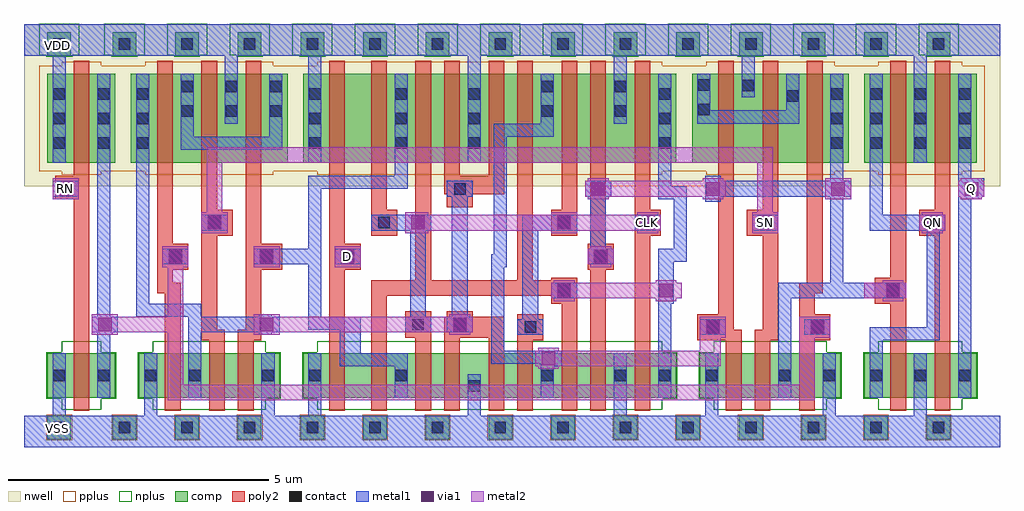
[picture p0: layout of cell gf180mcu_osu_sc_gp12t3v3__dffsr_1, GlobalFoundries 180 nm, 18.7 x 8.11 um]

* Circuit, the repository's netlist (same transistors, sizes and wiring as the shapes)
* Copyright 2022 Google LLC
*
* Licensed under the Apache License, Version 2.0 (the "License");
* you may not use this file except in compliance with the License.
* You may obtain a copy of the License at
*
*      http://www.apache.org/licenses/LICENSE-2.0
*
* Unless required by applicable law or agreed to in writing, software
* distributed under the License is distributed on an "AS IS" BASIS,
* WITHOUT WARRANTIES OR CONDITIONS OF ANY KIND, either express or implied.
* See the License for the specific language governing permissions and
* limitations under the License.

.inc "/import/yukari1/lrburle/OSU_180/char/techfiles/design.hspice"
.lib "/import/yukari1/lrburle/OSU_180/char/techfiles/sm141064.hspice" typical

.GLOBAL VDD
.GLOBAL VSS

.option scale=0.05u

.subckt gf180mcu_osu_sc_gp12t3v3__dffsr_1 D SN RN Q QN CLK
X0 a_156_109 a_133_14 a_82_14 VDD pmos_3p3 w=34 l=6
X1 VSS a_41_109 a_156_19 VSS nmos_3p3 w=17 l=6
X2 a_82_14 CLK a_123_109 VDD pmos_3p3 w=34 l=6
X3 a_212_109 CLK a_195_19 VDD pmos_3p3 w=34 l=6
X4 VSS a_25_19 a_216_68 VSS nmos_3p3 w=17 l=6
X5 a_195_19 CLK a_184_19 VSS nmos_3p3 w=17 l=6
X6 a_133_14 CLK VSS VSS nmos_3p3 w=17 l=6
X7 a_216_68 SN a_275_19 VSS nmos_3p3 w=17 l=6
X8 a_25_19 RN VDD VDD pmos_3p3 w=34 l=6
X9 a_123_109 D VDD VDD pmos_3p3 w=34 l=6
X10 VDD a_216_68 QN VDD pmos_3p3 w=34 l=6
X11 Q QN VDD VDD pmos_3p3 w=34 l=6
X12 a_41_109 a_25_19 VSS VSS nmos_3p3 w=17 l=6
X13 a_25_19 RN VSS VSS nmos_3p3 w=17 l=6
X14 a_82_14 a_133_14 a_123_19 VSS nmos_3p3 w=17 l=6
X15 a_256_109 SN VDD VDD pmos_3p3 w=34 l=6
X16 a_275_19 a_195_19 VSS VSS nmos_3p3 w=17 l=6
X17 VDD a_195_19 a_256_109 VDD pmos_3p3 w=34 l=6
X18 a_212_19 a_133_14 a_195_19 VSS nmos_3p3 w=17 l=6
X19 a_216_68 a_25_19 a_256_109 VDD pmos_3p3 w=34 l=6
X20 VSS a_216_68 a_212_19 VSS nmos_3p3 w=17 l=6
X21 a_77_19 SN a_41_109 VSS nmos_3p3 w=17 l=6
X22 a_57_109 a_82_14 VDD VDD pmos_3p3 w=34 l=6
X23 a_57_109 a_25_19 a_41_109 VDD pmos_3p3 w=34 l=6
X24 VDD SN a_57_109 VDD pmos_3p3 w=34 l=6
X25 a_195_19 a_133_14 a_184_109 VDD pmos_3p3 w=34 l=6
X26 Q QN VSS VSS nmos_3p3 w=17 l=6
X27 a_184_109 a_41_109 VDD VDD pmos_3p3 w=34 l=6
X28 VSS a_82_14 a_77_19 VSS nmos_3p3 w=17 l=6
X29 a_156_19 CLK a_82_14 VSS nmos_3p3 w=17 l=6
X30 VDD a_41_109 a_156_109 VDD pmos_3p3 w=34 l=6
X31 a_133_14 CLK VDD VDD pmos_3p3 w=34 l=6
X32 a_123_19 D VSS VSS nmos_3p3 w=17 l=6
X33 VDD a_216_68 a_212_109 VDD pmos_3p3 w=34 l=6
X34 a_184_19 a_41_109 VSS VSS nmos_3p3 w=17 l=6
X35 VSS a_216_68 QN VSS nmos_3p3 w=17 l=6
.ends

** hspice subcircuit dictionary

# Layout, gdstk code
import gdstk
lib = gdstk.Library(unit=1e-6, precision=1e-09)
def R(c, l, rs):  # rectangles x0, y0, x1, y1
    for r in rs: c.add(gdstk.rectangle(r[:2], r[2:], *l))
def A(c, l, x, y, w, h, nx, ny, dx, dy):  # array of equal rectangles
    R(c, l, [(x+i*dx, y+j*dy, x+i*dx+w, y+j*dy+h) for i in range(nx) for j in range(ny)])
nwell = (21, 0)
comp = (22, 0)
poly2 = (30, 0)
pplus = (31, 0)
nplus = (32, 0)
contact = (33, 0)
metal1 = (34, 0)
via1 = (35, 0)
metal2 = (36, 0)

gf180mcu_osu_sc_gp12t3v3 = lib.new_cell('gf180mcu_osu_sc_gp12t3v3__dffsr_1')
R(gf180mcu_osu_sc_gp12t3v3, nwell, [(0,5,18.7,8.1)])
A(gf180mcu_osu_sc_gp12t3v3, comp, 1.7, 0.15, 0.45, 0.45, 14, 2, 1.2, 7.35)
R(gf180mcu_osu_sc_gp12t3v3, comp, [(0.45,0.15,0.9,0.6), (0.45,0.95,1.75,1.8), (2.2,0.95,4.9,1.8), (5.35,0.95,12.5,1.8), (12.95,0.95,15.65,1.8), (16.1,0.95,18.25,1.8), (0.45,5.45,1.75,7.15), (2.05,5.45,5.05,7.15), (5.35,5.45,12.5,7.15), (12.8,5.45,15.8,7.15), (16.1,5.45,18.25,7.15), (0.45,7.5,0.9,7.95)])
R(gf180mcu_osu_sc_gp12t3v3, poly2, [(0.95,0.7,1.25,4.75), (2.7,0.7,3,2.95), (3.55,0.7,3.85,2.05), (4.1,0.7,4.4,2.05), (5.85,0.7,6.15,3.4), (6.65,0.7,6.95,2.9), (7.5,0.7,7.8,2.1), (8.05,0.7,8.35,2.1), (8.9,0.7,9.2,2.1), (9.45,0.7,9.75,2.05), (10.3,0.7,10.6,2.75), (10.85,0.7,11.15,3.4), (11.7,0.7,12,4.05), (13.45,0.7,13.75,2.05), (14,0.7,14.3,2.05), (14.85,0.7,15.15,2.05), (16.6,0.7,16.9,2.75), (17.45,0.7,17.75,4.05), (3.4,2.05,3.85,2.25), (4.1,2.05,4.55,2.25), (9.45,2.05,9.95,2.55), (12.9,2.05,13.75,2.25), (14,2.05,14.45,2.25), (14.85,2.05,15.45,2.55), (7.3,2.1,7.8,2.6), (8.05,2.1,9.2,2.5), (3.4,2.25,3.7,4.05), (4.25,2.25,4.55,3.4), (12.9,2.25,13.6,2.55), (14.15,2.25,14.45,4.05), (8.1,2.5,8.6,2.6), (13.3,2.55,13.6,7.4), (14.85,2.55,15.15,2.95), (10.1,2.75,10.6,2.9), (16.3,2.75,16.9,3.25), (6.65,2.9,10.6,3.2), (2.55,2.95,3,3.15), (14.85,2.95,15.3,3.15), (2.55,3.15,2.85,3.4), (15,3.15,15.3,7.4), (7.5,3.2,7.8,7.4), (9.45,3.2,9.75,7.4), (10.1,3.2,10.6,3.25), (16.6,3.25,16.9,7.4), (2.55,3.4,3.15,3.9), (4.25,3.4,4.95,3.9), (5.85,3.4,6.45,3.9), (10.8,3.4,11.3,3.9), (2.55,3.9,2.85,7.4), (4.25,3.9,4.55,7.4), (5.85,3.9,6.15,7.4), (10.85,3.9,11.15,7.4), (3.4,4.05,4,4.55), (6.65,4.05,7.15,4.55), (10.1,4.05,10.6,4.55), (11.7,4.05,12.2,4.55), (13.85,4.05,14.45,4.55), (17.15,4.05,17.75,4.55), (3.4,4.55,3.7,7.4), (6.65,4.55,6.95,7.4), (10.3,4.55,10.6,7.4), (11.7,4.55,12,7.4), (14.15,4.55,14.45,7.4), (17.45,4.55,17.75,7.4), (8.1,4.6,8.6,4.85), (0.6,4.75,1.25,5.2), (8.05,4.85,9.2,5.2), (0.95,5.2,1.25,7.4), (8.05,5.2,8.35,7.4), (8.9,5.2,9.2,7.4)])
A(gf180mcu_osu_sc_gp12t3v3, pplus, 1.68, 0.13, 0.49, 0.49, 14, 1, 1.2, 0)
R(gf180mcu_osu_sc_gp12t3v3, pplus, [(0.43,0.13,0.92,0.62), (0.72,5.22,1.48,5.29), (2.32,5.22,4.78,5.29), (5.62,5.22,12.23,5.29), (13.07,5.22,15.53,5.29), (16.37,5.22,17.98,5.29), (0.29,5.29,18.41,7.31), (0.72,7.31,1.48,7.38), (2.32,7.31,4.78,7.38), (5.62,7.31,12.23,7.38), (13.07,7.31,15.53,7.38), (16.37,7.31,17.98,7.38)])
A(gf180mcu_osu_sc_gp12t3v3, nplus, 1.68, 7.48, 0.49, 0.03, 14, 1, 1.2, 0)
A(gf180mcu_osu_sc_gp12t3v3, nplus, 1.54, 7.51, 0.77, 0.6, 14, 1, 1.2, 0)
R(gf180mcu_osu_sc_gp12t3v3, nplus, [(0.72,0.72,1.48,0.93), (2.47,0.72,4.63,0.93), (5.62,0.72,12.23,0.93), (13.22,0.72,15.38,0.93), (16.37,0.72,17.98,0.93), (0.43,0.93,1.77,1.82), (2.18,0.93,4.92,1.82), (5.33,0.93,12.52,1.82), (12.93,0.93,15.67,1.82), (16.08,0.93,18.27,1.82), (0.72,1.82,1.48,2.03), (2.47,1.82,4.63,2.03), (5.62,1.82,12.23,2.03), (13.22,1.82,15.38,2.03), (16.37,1.82,17.98,2.03), (0.43,7.48,0.92,7.51), (0.29,7.51,1.06,8.11)])
A(gf180mcu_osu_sc_gp12t3v3, contact, 1.815, 0.265, 0.22, 0.22, 14, 2, 1.2, 7.35)
A(gf180mcu_osu_sc_gp12t3v3, contact, 16.215, 1.265, 0.22, 0.22, 3, 2, 0.85, 4.455)
A(gf180mcu_osu_sc_gp12t3v3, contact, 0.565, 5.72, 0.22, 0.22, 1, 3, 0, 0.47)
A(gf180mcu_osu_sc_gp12t3v3, contact, 1.415, 5.72, 0.22, 0.22, 1, 3, 0, 0.47)
A(gf180mcu_osu_sc_gp12t3v3, contact, 2.165, 5.72, 0.22, 0.22, 1, 3, 0, 0.47)
A(gf180mcu_osu_sc_gp12t3v3, contact, 5.465, 5.72, 0.22, 0.22, 1, 3, 0, 0.47)
A(gf180mcu_osu_sc_gp12t3v3, contact, 7.115, 5.72, 0.22, 0.22, 1, 3, 0, 0.47)
A(gf180mcu_osu_sc_gp12t3v3, contact, 8.515, 5.72, 0.22, 0.22, 1, 3, 0, 0.47)
A(gf180mcu_osu_sc_gp12t3v3, contact, 12.165, 5.72, 0.22, 0.22, 1, 3, 0, 0.47)
A(gf180mcu_osu_sc_gp12t3v3, contact, 15.465, 5.72, 0.22, 0.22, 1, 3, 0, 0.47)
A(gf180mcu_osu_sc_gp12t3v3, contact, 16.215, 6.19, 0.22, 0.22, 3, 2, 0.85, 0.47)
A(gf180mcu_osu_sc_gp12t3v3, contact, 3.015, 6.33, 0.22, 0.22, 3, 2, 0.85, 0.47)
R(gf180mcu_osu_sc_gp12t3v3, contact, [(0.565,0.265,0.785,0.485), (8.515,1.065,8.735,1.285), (0.565,1.265,0.785,1.485), (1.415,1.265,1.635,1.485), (2.315,1.265,2.535,1.485), (3.165,1.265,3.385,1.485), (4.565,1.265,4.785,1.485), (5.465,1.265,5.685,1.485), (7.115,1.265,7.335,1.485), (9.915,1.265,10.135,1.485), (11.315,1.265,11.535,1.485), (12.165,1.265,12.385,1.485), (13.065,1.265,13.285,1.485), (14.465,1.265,14.685,1.485), (15.315,1.265,15.535,1.485), (9.59,2.19,9.81,2.41), (13.09,2.19,13.31,2.41), (15.09,2.19,15.31,2.41), (7.44,2.24,7.66,2.46), (8.24,2.24,8.46,2.46), (10.24,2.89,10.46,3.11), (16.54,2.89,16.76,3.11), (2.79,3.54,3.01,3.76), (4.54,3.54,4.76,3.76), (6.09,3.54,6.31,3.76), (10.94,3.54,11.16,3.76), (3.54,4.19,3.76,4.41), (6.79,4.19,7.01,4.41), (10.24,4.19,10.46,4.41), (11.84,4.19,12.06,4.41), (14.09,4.19,14.31,4.41), (17.29,4.19,17.51,4.41), (8.24,4.84,8.46,5.06), (0.715,4.865,0.935,5.085), (9.915,6.33,10.135,6.55), (11.315,6.33,11.535,6.55), (12.915,6.355,13.135,6.575), (14.615,6.615,14.835,6.835), (9.915,6.8,10.135,7.02), (11.315,6.8,11.535,7.02), (13.765,6.815,13.985,7.035), (12.915,6.825,13.135,7.045), (0.565,7.615,0.785,7.835)])
R(gf180mcu_osu_sc_gp12t3v3, metal1, [(0,0,18.7,0.6), (0.55,0.6,0.8,1.8), (2.3,0.6,2.55,1.8), (4.55,0.6,4.8,1.8), (5.45,0.6,5.7,1.8), (8.5,0.6,8.75,1.4), (11.3,0.6,11.55,1.8), (13.05,0.6,13.3,1.8), (15.3,0.6,15.55,1.8), (17.05,0.6,17.3,1.8), (1.4,0.95,1.65,2.15), (3.15,0.95,3.4,2.2), (7.1,0.95,7.35,1.55), (9.9,0.95,10.15,1.55), (12.15,0.95,12.4,2.75), (14.45,0.95,14.7,2.85), (16.2,0.95,16.45,2.05), (17.9,0.95,18.15,4.75), (6.05,1.55,7.35,1.8), (9.9,1.55,10.3,1.6), (8.95,1.6,10.3,1.85), (6.05,1.8,6.45,2.25), (8.95,1.85,9.2,3.45), (16.2,2.05,17.55,2.3), (1.4,2.15,1.7,2.2), (4.5,2.15,4.75,2.2), (9.45,2.15,9.95,2.45), (12.95,2.15,13.45,2.45), (14.95,2.15,15.45,2.45), (1.3,2.2,1.8,2.5), (3.15,2.2,4.9,2.5), (7.3,2.2,7.8,2.5), (8.1,2.2,8.6,2.5), (5.45,2.25,6.45,2.5), (17.3,2.3,17.55,4.15), (9.55,2.45,9.85,4.15), (1.4,2.5,1.65,7.15), (2.15,2.5,3.4,2.75), (4.5,2.5,4.75,2.55), (5.45,2.5,5.7,3.5), (7.4,2.5,7.7,4.15), (8.2,2.5,8.5,4.8), (2.15,2.75,2.4,7.15), (12.15,2.75,12.45,3.55), (10.1,2.85,10.6,3.15), (14.45,2.85,16.9,3.15), (15.45,3.15,15.7,4.8), (8.95,3.45,9.25,3.7), (2.65,3.5,3.15,3.8), (4.4,3.5,5.7,3.8), (5.95,3.5,6.45,3.8), (10.8,3.5,11.3,3.8), (12.15,3.55,12.7,3.8), (9,3.7,9.25,5.95), (5.45,3.8,5.7,4.95), (10.85,3.8,11.15,4.8), (12.45,3.8,12.7,4.75), (3.4,4.15,3.9,4.45), (6.65,4.15,7.8,4.45), (9.55,4.15,10.6,4.45), (11.7,4.15,12.2,4.45), (13.95,4.15,14.45,4.45), (16.2,4.15,17.65,4.45), (16.2,4.45,16.45,7.15), (13.05,4.7,13.35,4.8), (12.15,4.75,12.7,5), (17.9,4.75,18.35,4.8), (0.55,4.8,1.05,5.1), (8.1,4.8,8.6,5.1), (10.75,4.8,11.25,5.1), (13.05,4.8,15.85,5.1), (17.9,4.8,18.4,5.15), (5.45,4.95,7.35,5.2), (12.15,5,12.4,7.15), (13.05,5.1,13.35,5.2), (15.45,5.1,15.7,7.15), (17.9,5.15,18.15,7.15), (7.1,5.2,7.35,7.15), (0.55,5.45,0.8,7.5), (5.45,5.45,5.7,7.5), (8.5,5.45,8.75,7.5), (17.05,5.45,17.3,7.5), (3,5.7,4.95,5.95), (3,5.95,3.25,7.15), (4.7,5.95,4.95,7.15), (9,5.95,10.15,6.2), (3.85,6.2,4.1,7.5), (9.9,6.2,10.15,7.15), (11.3,6.2,11.55,7.5), (12.9,6.2,14.85,6.45), (12.9,6.45,13.15,7.15), (14.6,6.45,14.85,7.15), (13.75,6.7,14,7.5), (0,7.5,18.7,8.1)])
R(gf180mcu_osu_sc_gp12t3v3, via1, [(9.92,1.57,10.18,1.83), (13.07,2.17,13.33,2.43), (15.07,2.17,15.33,2.43), (1.42,2.22,1.68,2.48), (4.52,2.22,4.78,2.48), (8.22,2.22,8.48,2.48), (10.22,2.87,10.48,3.13), (12.17,2.87,12.43,3.13), (16.52,2.87,16.78,3.13), (2.77,3.52,3.03,3.78), (4.52,3.52,4.78,3.78), (6.07,3.52,6.33,3.78), (10.92,3.52,11.18,3.78), (3.52,4.17,3.78,4.43), (7.42,4.17,7.68,4.43), (10.22,4.17,10.48,4.43), (11.82,4.17,12.08,4.43), (14.07,4.17,14.33,4.43), (17.27,4.17,17.53,4.43), (0.67,4.82,0.93,5.08), (10.87,4.82,11.13,5.08), (13.07,4.82,13.33,5.08), (15.47,4.82,15.73,5.08), (18.02,4.82,18.28,5.08)])
R(gf180mcu_osu_sc_gp12t3v3, metal2, [(2.75,0.9,15.15,1.2), (2.75,1.2,3.05,2.2), (14.85,1.2,15.15,2.1), (9.85,1.5,10.25,1.55), (9.8,1.55,13.35,1.85), (9.85,1.85,10.25,1.9), (12.95,1.85,13.35,2.1), (12.95,2.1,13.45,2.5), (14.85,2.1,15.45,2.5), (1.3,2.15,1.8,2.2), (4.4,2.15,4.9,2.2), (8.15,2.15,8.55,2.2), (1.3,2.2,3.05,2.5), (4.4,2.2,8.6,2.5), (1.3,2.5,1.8,2.55), (2.75,2.5,3.05,3.45), (4.4,2.5,4.9,2.55), (8.15,2.5,8.55,2.55), (10.15,2.8,10.55,2.85), (12.1,2.8,12.5,2.85), (16.45,2.8,16.85,2.85), (10.1,2.85,12.6,3.15), (16.1,2.85,16.9,3.15), (10.15,3.15,10.55,3.2), (12.1,3.15,12.5,3.2), (16.45,3.15,16.85,3.2), (2.65,3.45,3.15,3.85), (4.4,3.45,4.9,3.85), (5.95,3.45,6.45,3.85), (10.85,3.45,11.25,3.5), (10.8,3.5,11.3,3.8), (10.85,3.8,11.25,3.85), (3.4,4.1,3.9,4.5), (7.3,4.1,7.75,4.15), (10.1,4.1,10.6,4.15), (11.75,4.1,12.15,4.15), (13.95,4.1,14.45,4.5), (17.2,4.1,17.6,4.15), (7.3,4.15,12.2,4.45), (17.15,4.15,17.65,4.45), (7.3,4.45,7.75,4.5), (10.1,4.45,10.6,4.5), (11.75,4.45,12.15,4.5), (17.2,4.45,17.6,4.5), (3.5,4.5,3.8,5.45), (14.05,4.5,14.35,5.45), (0.55,4.75,1.05,5.15), (10.8,4.75,11.2,4.8), (13,4.75,13.4,4.8), (15.35,4.75,15.85,5.15), (17.95,4.75,18.35,4.8), (10.75,4.8,13.45,5.1), (17.9,4.8,18.4,5.1), (10.8,5.1,11.2,5.15), (13,5.1,13.4,5.15), (17.95,5.1,18.35,5.15), (3.5,5.45,14.35,5.75)])
gf180mcu_osu_sc_gp12t3v3.add(gdstk.Label('VSS', (0.65,0.35), layer=34, texttype=0))
gf180mcu_osu_sc_gp12t3v3.add(gdstk.Label('VDD', (0.65,7.7), layer=34, texttype=0))
gf180mcu_osu_sc_gp12t3v3.add(gdstk.Label('D', (6.2,3.65), layer=36, texttype=10))
gf180mcu_osu_sc_gp12t3v3.add(gdstk.Label('SN', (14.2,4.3), layer=36, texttype=10))
gf180mcu_osu_sc_gp12t3v3.add(gdstk.Label('RN', (0.8,4.95), layer=36, texttype=10))
gf180mcu_osu_sc_gp12t3v3.add(gdstk.Label('Q', (18.15,4.95), layer=36, texttype=10))
gf180mcu_osu_sc_gp12t3v3.add(gdstk.Label('QN', (17.4,4.3), layer=36, texttype=10))
gf180mcu_osu_sc_gp12t3v3.add(gdstk.Label('CLK', (11.95,4.3), layer=36, texttype=10))

lib.write_gds('gf180mcu_osu_sc_gp12t3v3__dffsr_1.gds')
